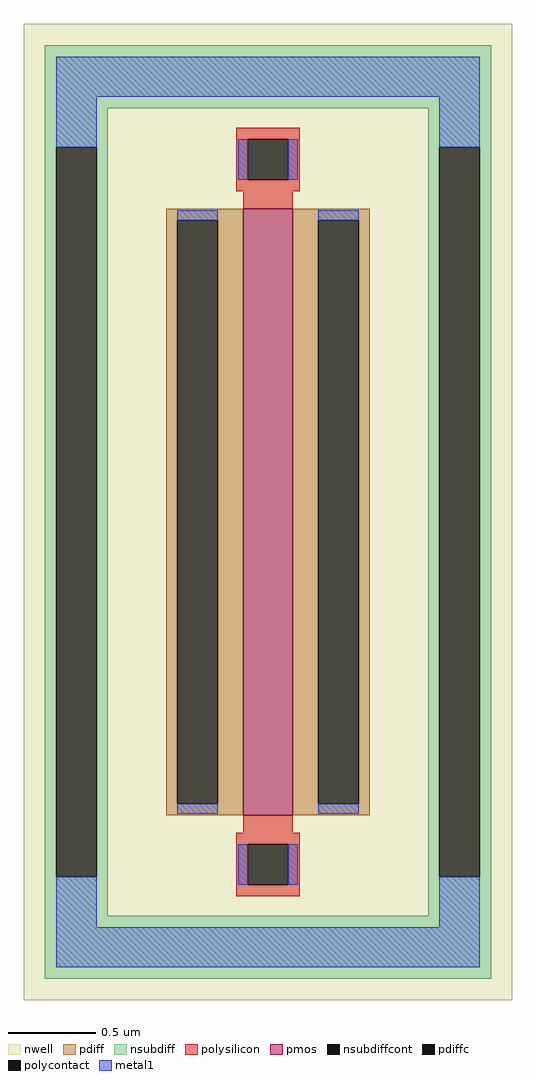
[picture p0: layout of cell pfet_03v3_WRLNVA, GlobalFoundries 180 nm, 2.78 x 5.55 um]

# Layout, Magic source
magic
tech gf180mcuD
magscale 1 10
<< nwell >>
rect -278 -555 278 555
<< pmos >>
rect -28 -345 28 345
<< pdiff >>
rect -116 332 -28 345
rect -116 -332 -103 332
rect -57 -332 -28 332
rect -116 -345 -28 -332
rect 28 332 116 345
rect 28 -332 57 332
rect 103 -332 116 332
rect 28 -345 116 -332
<< pdiffc >>
rect -103 -332 -57 332
rect 57 -332 103 332
<< nsubdiff >>
rect -254 459 254 531
rect -254 415 -182 459
rect -254 -415 -241 415
rect -195 -415 -182 415
rect 182 415 254 459
rect -254 -459 -182 -415
rect 182 -415 195 415
rect 241 -415 254 415
rect 182 -459 254 -415
rect -254 -531 254 -459
<< nsubdiffcont >>
rect -241 -415 -195 415
rect 195 -415 241 415
<< polysilicon >>
rect -36 424 36 437
rect -36 378 -23 424
rect 23 378 36 424
rect -36 365 36 378
rect -28 345 28 365
rect -28 -365 28 -345
rect -36 -378 36 -365
rect -36 -424 -23 -378
rect 23 -424 36 -378
rect -36 -437 36 -424
<< polycontact >>
rect -23 378 23 424
rect -23 -424 23 -378
<< metal1 >>
rect -241 472 241 518
rect -241 415 -195 472
rect -34 378 -23 424
rect 23 378 34 424
rect 195 415 241 472
rect -103 332 -57 343
rect -103 -343 -57 -332
rect 57 332 103 343
rect 57 -343 103 -332
rect -241 -472 -195 -415
rect -34 -424 -23 -378
rect 23 -424 34 -378
rect 195 -472 241 -415
rect -241 -518 241 -472
<< properties >>
string FIXED_BBOX -218 -495 218 495
string gencell pfet_03v3
string library gf180mcu
string parameters w 3.45 l 0.28 m 1 nf 1 diffcov 100 polycov 100 guard 1 glc 1 grc 1 gtc 0 gbc 0 tbcov 100 rlcov 100 topc 1 botc 1 poverlap 0 doverlap 1 lmin 0.28 wmin 0.22 class mosfet full_metal 1 compatible {pfet_03v3 pfet_05v0 pfet_06v0} ad {int((nf+1)/2) * W/nf * 0.18u} as {int((nf+2)/2) * W/nf * 0.18u} pd {2*int((nf+1)/2) * (W/nf + 0.18u)} ps {2*int((nf+2)/2) * (W/nf + 0.18u)} nrd {0.18u / W} nrs {0.18u / W} sa 0 sb 0 sd 0
<< end >>
